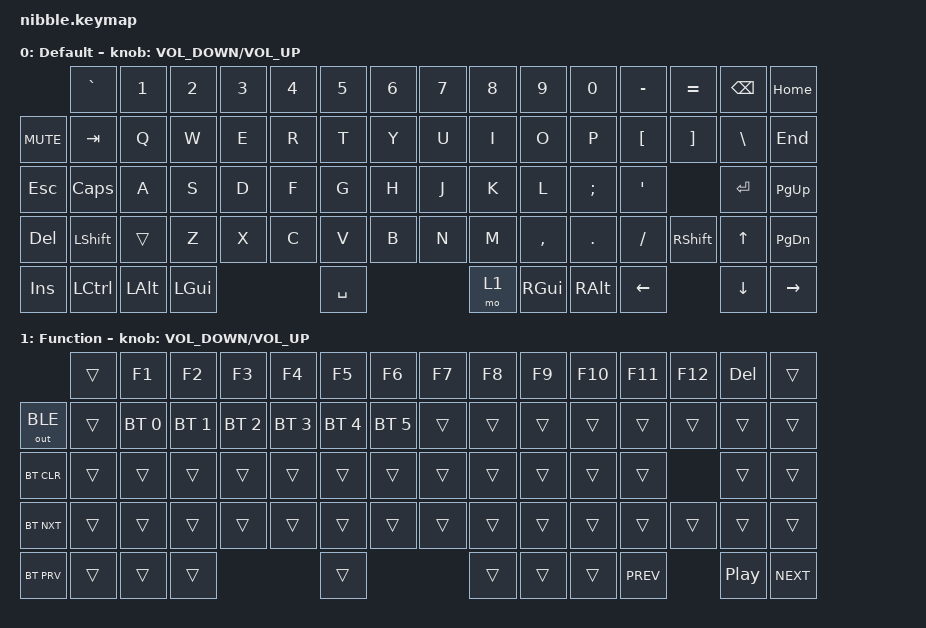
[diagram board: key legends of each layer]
/*
 * Copyright (c) 2020 The ZMK Contributors
 *
 * SPDX-License-Identifier: MIT
 */

#include <behaviors.dtsi>
#include <dt-bindings/zmk/keys.h>
#include <dt-bindings/zmk/bt.h>
#include <dt-bindings/zmk/rgb.h>
#include <dt-bindings/zmk/outputs.h>

/ {
	sensors {
		compatible = "zmk,keymap-sensors";
		sensors = <&encoder_1>;
	};

	keymap {
		compatible = "zmk,keymap";

		default_layer {
			label = "Default";

			sensor-bindings = <&inc_dec_kp C_VOLUME_DOWN C_VOLUME_UP>;

			bindings = <
                                    &kp GRAVE &kp N1    &kp N2    &kp N3    &kp N4    &kp N5    &kp N6    &kp N7    &kp N8  &kp N9    &kp N0    &kp MINUS &kp EQUAL &kp BSPC &kp HOME
                        &kp C_MUTE  &kp TAB   &kp Q     &kp W     &kp E     &kp R     &kp T     &kp Y     &kp U     &kp I   &kp O     &kp P     &kp LBKT  &kp RBKT  &kp BSLH &kp END
                        &kp ESC     &kp CLCK  &kp A     &kp S     &kp D     &kp F     &kp G     &kp H     &kp J     &kp K   &kp L     &kp SEMI  &kp SQT             &kp RET  &kp PG_UP
                        &kp DEL     &kp LSHFT &trans    &kp Z     &kp X     &kp C     &kp V     &kp B     &kp N     &kp M   &kp COMMA &kp DOT   &kp FSLH  &kp RSHFT &kp UP   &kp PG_DN
                        &kp INS     &kp LCTRL &kp LALT  &kp LGUI                      &kp SPACE                     &mo 1   &kp RGUI  &kp RALT  &kp LEFT            &kp DOWN &kp RIGHT
			>;
		};
		function_layer {
			label = "Function";
			
			sensor-bindings = <&inc_dec_kp C_VOLUME_DOWN C_VOLUME_UP>;

			bindings = <
                                     &trans &kp F1       &kp F2       &kp F3       &kp F4       &kp F5       &kp F6       &kp F7    &kp F8  &kp F9    &kp F10   &kp F11   &kp F12   &kp DEL  &trans
                        &out OUT_BLE &trans &bt BT_SEL 0 &bt BT_SEL 1 &bt BT_SEL 2 &bt BT_SEL 3 &bt BT_SEL 4 &bt BT_SEL 5 &trans    &trans  &trans    &trans    &trans    &trans    &trans   &trans
                        &bt BT_CLR   &trans &trans       &trans       &trans       &trans       &trans       &trans       &trans    &trans  &trans    &trans    &trans              &trans   &trans
                        &bt BT_NXT   &trans &trans       &trans       &trans       &trans       &trans       &trans       &trans    &trans  &trans    &trans    &trans    &trans    &trans   &trans
                        &bt BT_PRV   &trans &trans       &trans                                 &trans                              &trans  &trans    &trans    &kp C_PREV          &kp C_PP &kp C_NEXT
			>;
		};
	};
};
